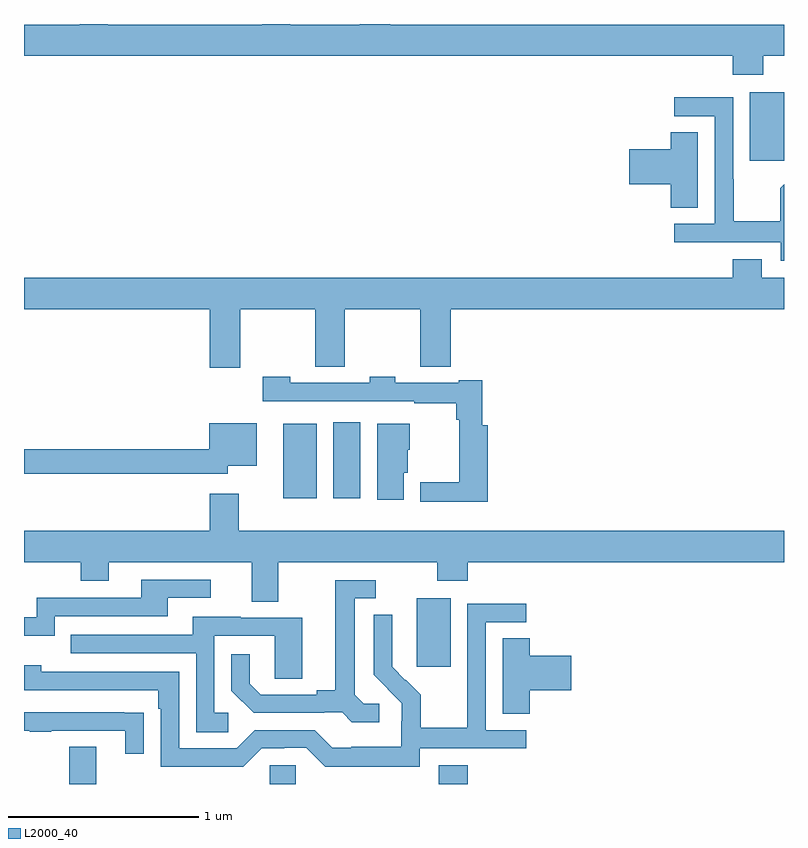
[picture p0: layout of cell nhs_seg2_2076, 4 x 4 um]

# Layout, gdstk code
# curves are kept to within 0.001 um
import gdstk
lib = gdstk.Library(unit=1e-6, precision=1e-09)
def R(c, l, rs):  # rectangles x0, y0, x1, y1
    for r in rs: c.add(gdstk.rectangle(r[:2], r[2:], *l))
def P(c, l, *ps):  # polygons
    for p in ps: c.add(gdstk.Polygon(p, *l))
L2000_40 = (2000, 40)

nhs_seg2_2076 = lib.new_cell('nhs_seg2_2076')
R(nhs_seg2_2076, L2000_40, [(219.239,647.8,219.379,647.995), (220.293,647.8,220.431,647.898), (221.183,647.8,221.336,647.899), (221.066,648.417,221.245,648.778), (220.364,649.304,220.54,649.696), (220.628,649.304,220.771,649.705), (222.821,651.081,223,651.442)])
P(nhs_seg2_2076, L2000_40, [(220.768,651.796),(220.401,651.796),(220.401,651.8),(220.254,651.8),(220.254,651.796),(219.441,651.796),(219.441,651.8),(219.293,651.8),(219.293,651.796),(219,651.796),(219,651.632),(222.731,651.632),(222.731,651.533),(222.891,651.533),(222.891,651.632),(223,651.632),(223,651.796),(220.928,651.796),(220.928,651.8),(220.768,651.8)],
  [(223,650.956),(222.979,650.935),(222.979,650.761),(222.735,650.761),(222.735,650.984),(222.732,650.984),(222.732,651.414),(222.423,651.414),(222.423,651.315),(222.636,651.315),(222.636,650.748),(222.423,650.748),(222.423,650.652),(222.984,650.652),(222.984,650.555),(223,650.555)],
  [(222.547,651.23),(222.404,651.23),(222.404,651.14),(222.186,651.14),(222.186,650.957),(222.404,650.957),(222.404,650.833),(222.547,650.833)],
  [(223,650.464),(222.883,650.464),(222.883,650.563),(222.731,650.563),(222.731,650.464),(219,650.464),(219,650.3),(219.977,650.3),(219.977,649.992),(220.137,649.992),(220.137,650.3),(220.534,650.3),(220.534,649.996),(220.688,649.996),(220.688,650.3),(221.086,650.3),(221.086,649.996),(221.246,649.996),(221.246,650.3),(223,650.3)],
  [(221.441,649.687),(221.411,649.687),(221.411,649.924),(221.288,649.924),(221.288,649.911),(220.953,649.911),(220.953,649.944),(220.821,649.944),(220.821,649.911),(220.401,649.911),(220.401,649.944),(220.257,649.944),(220.257,649.815),(221.053,649.815),(221.053,649.803),(221.275,649.803),(221.275,649.718),(221.29,649.718),(221.29,649.388),(221.085,649.388),(221.085,649.286),(221.441,649.286)],
  [(220.072,649.475),(220.225,649.475),(220.225,649.699),(219.974,649.699),(219.974,649.562),(219,649.562),(219,649.434),(220.072,649.434)],
  [(220.999,649.437),(221.02,649.437),(221.02,649.56),(221.029,649.56),(221.029,649.696),(220.859,649.696),(220.859,649.296),(220.999,649.296)],
  [(220.339,648.968),(221.176,648.968),(221.176,648.869),(221.336,648.869),(221.336,648.968),(223,648.968),(223,649.132),(220.129,649.132),(220.129,649.327),(219.977,649.327),(219.977,649.132),(219,649.132),(219,648.968),(219.298,648.968),(219.298,648.869),(219.445,648.869),(219.445,648.968),(220.199,648.968),(220.199,648.76),(220.339,648.76)],
  [(219.162,648.684),(219.757,648.684),(219.757,648.78),(219.982,648.78),(219.982,648.876),(219.617,648.876),(219.617,648.78),(219.066,648.78),(219.066,648.678),(219,648.678),(219,648.581),(219.162,648.581)],
  [(220.87,648.222),(220.788,648.222),(220.741,648.269),(220.741,648.777),(220.852,648.777),(220.852,648.873),(220.637,648.873),(220.637,648.293),(220.541,648.293),(220.541,648.27),(220.246,648.27),(220.189,648.327),(220.189,648.484),(220.092,648.484),(220.092,648.29),(220.208,648.174),(220.58,648.174),(220.58,648.177),(220.674,648.177),(220.726,648.125),(220.87,648.125)],
  [(221.082,647.988),(221.644,647.988),(221.644,648.084),(221.43,648.084),(221.43,648.651),(221.644,648.651),(221.644,648.75),(221.334,648.75),(221.334,648.32),(221.332,648.32),(221.332,648.097),(221.087,648.097),(221.087,648.271),(221.01,648.348),(221.007,648.345),(220.937,648.416),(220.938,648.692),(220.842,648.692),(220.842,648.374),(220.988,648.226),(220.988,648.129),(220.986,648.129),(220.986,647.995),(220.723,647.995),(220.723,647.991),(220.623,647.991),(220.53,648.084),(220.215,648.084),(220.119,647.988),(219.816,647.988),(219.816,648.39),(219.092,648.39),(219.092,648.424),(219,648.424),(219,648.294),(219.707,648.294),(219.707,648.197),(219.72,648.197),(219.72,647.892),(220.155,647.892),(220.251,647.988),(220.37,647.988),(220.37,647.991),(220.485,647.991),(220.585,647.891),(221.082,647.891)],
  [(220.075,648.174),(220.002,648.174),(220.002,648.579),(220.32,648.579),(220.32,648.355),(220.465,648.355),(220.465,648.675),(220.141,648.675),(220.141,648.679),(219.887,648.679),(219.887,648.585),(219.247,648.585),(219.247,648.489),(219.906,648.489),(219.906,648.073),(220.075,648.073)],
  [(221.663,648.293),(221.881,648.293),(221.881,648.476),(221.663,648.476),(221.663,648.566),(221.519,648.566),(221.519,648.169),(221.663,648.169)],
  [(219.629,648.176),(219.527,648.176),(219.527,648.177),(219,648.177),(219,648.081),(219.031,648.081),(219.031,648.076),(219.143,648.076),(219.143,648.081),(219.533,648.081),(219.533,647.958),(219.629,647.958)])

lib.write_gds('nhs_seg2_2076.gds')
